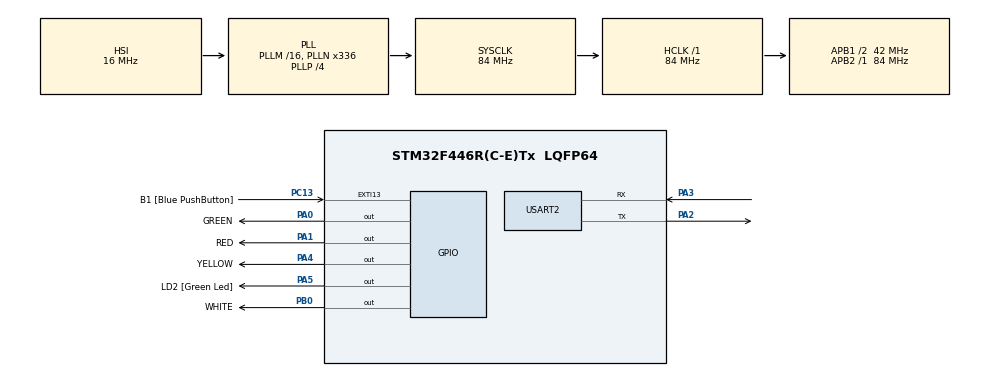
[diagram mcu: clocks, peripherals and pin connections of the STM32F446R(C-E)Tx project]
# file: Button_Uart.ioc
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Mcu.Family=STM32F4
Mcu.Name=STM32F446R(C-E)Tx
Mcu.Package=LQFP64
NVIC.EXTI15_10_IRQn=true\:0\:0\:false\:false\:true\:true\:true
NVIC.PriorityGroup=NVIC_PRIORITYGROUP_0
NVIC.USART2_IRQn=true\:0\:0\:false\:false\:true\:true\:true
PA0-WKUP.GPIO_Label=GREEN
PA0-WKUP.GPIO_PuPd=GPIO_PULLDOWN
PA0-WKUP.Signal=GPIO_Output
PA1.GPIO_Label=RED
PA1.GPIO_PuPd=GPIO_PULLDOWN
PA1.Signal=GPIO_Output
PA13.GPIO_Label=TMS
PA13.Mode=Serial_Wire
PA13.Signal=SYS_JTMS-SWDIO
PA14.GPIO_Label=TCK
PA14.Mode=Serial_Wire
PA14.Signal=SYS_JTCK-SWCLK
PA2.Mode=Asynchronous
PA2.Signal=USART2_TX
PA3.Mode=Asynchronous
PA3.Signal=USART2_RX
PA4.GPIO_Label=YELLOW
PA4.GPIO_PuPd=GPIO_PULLDOWN
PA4.Signal=GPIO_Output
PA5.GPIO_Label=LD2 [Green Led]
PA5.Signal=GPIO_Output
PB0.GPIO_Label=WHITE
PB0.GPIO_PuPd=GPIO_PULLDOWN
PB0.Signal=GPIO_Output
PB3.GPIO_Label=SWO
PB3.Signal=SYS_JTDO-SWO
PC13.GPIO_Label=B1 [Blue PushButton]
PC13.GPIO_ModeDefaultEXTI=GPIO_MODE_IT_RISING
PC13.GPIO_PuPd=GPIO_PULLDOWN
PC13.Signal=GPXTI13
PC14-OSC32_IN.Mode=LSE-External-Oscillator
PC14-OSC32_IN.Signal=RCC_OSC32_IN
PC15-OSC32_OUT.Mode=LSE-External-Oscillator
PC15-OSC32_OUT.Signal=RCC_OSC32_OUT
PH0-OSC_IN.Mode=HSE-External-Oscillator
PH0-OSC_IN.Signal=RCC_OSC_IN
PH1-OSC_OUT.Mode=HSE-External-Oscillator
PH1-OSC_OUT.Signal=RCC_OSC_OUT
ProjectManager.HeapSize=0x200
ProjectManager.StackSize=0x400
ProjectManager.TargetToolchain=STM32CubeIDE
RCC.48MHZClocksFreq_Value=84000000
RCC.AHBFreq_Value=84000000
RCC.APB1CLKDivider=RCC_HCLK_DIV2
RCC.APB1Freq_Value=42000000
RCC.APB1TimFreq_Value=84000000
RCC.APB2Freq_Value=84000000
RCC.APB2TimFreq_Value=84000000
RCC.CortexFreq_Value=84000000
RCC.FLatency-AdvancedSettings=FLASH_LATENCY_2
RCC.HCLKFreq_Value=84000000
RCC.HSE_VALUE=8000000
RCC.HSI_VALUE=16000000
RCC.PLLN=336
RCC.PLLP=RCC_PLLP_DIV4
RCC.SYSCLKFreq_VALUE=84000000
RCC.SYSCLKSource=RCC_SYSCLKSOURCE_PLLCLK
RCC.USBFreq_Value=168000000
RCC.VCOOutputFreq_Value=336000000
USART2.VirtualMode=VM_ASYNC
board=NUCLEO-F446RE

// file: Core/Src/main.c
/* USER CODE BEGIN Header */
/**
  ******************************************************************************
  * @file           : main.c
  * @brief          : Main program body
  ******************************************************************************
  * @attention
  *
  * <h2><center>&copy; Copyright (c) 2021 STMicroelectronics.
  * All rights reserved.</center></h2>
  *
  * This software component is licensed by ST under BSD 3-Clause license,
  * the "License"; You may not use this file except in compliance with the
  * License. You may obtain a copy of the License at:
  *                        opensource.org/licenses/BSD-3-Clause
  *
  ******************************************************************************
  */
/* USER CODE END Header */
#include "main.h"

/* USER CODE BEGIN Includes */
#include <stdio.h>
/* USER CODE END Includes */

UART_HandleTypeDef huart2;

/* USER CODE BEGIN PV */
uint8_t a=0; //a for Compare
uint8_t data_R[10];
uint8_t data_T[]={0,1,2,3,4,5,6,7,8,9};
/* USER CODE END PV */

void SystemClock_Config(void);
static void MX_GPIO_Init(void);
static void MX_USART2_UART_Init(void);

/* USER CODE BEGIN 0 */
int __io_putchar(int ch)
{
	  HAL_UART_Transmit(&huart2, (uint8_t*)&ch, 1, 100);
	  return ch;
}
/* USER CODE END 0 */

int main(void)
{

  /* MCU Configuration--------------------------------------------------------*/

  /* Reset of all peripherals, Initializes the Flash interface and the Systick. */
  HAL_Init();

  /* Configure the system clock */
  SystemClock_Config();

  /* Initialize all configured peripherals */
  MX_GPIO_Init();
  MX_USART2_UART_Init();
  /* USER CODE BEGIN 2 */
  //HAL_UART_Transmit(&huart2, data_T, 10, 100);
  /* USER CODE END 2 */

  /* Infinite loop */
  while (1)
  {

    /* USER CODE BEGIN 3 */
	 // HAL_UART_Transmit(&huart2, data_T, 10, 100);
	  //printf("\n");
	  //HAL_UART_Receive (&huart2, data_R, 10, 100);
	  //printf("\n");
	  //HAL_Delay(500);
	  //HAL_GPIO_TogglePin (GPIOA, GPIO_PIN_5);
	  //printf("Received value = %d", data_R);

	  switch (a)
	  {
	  case 0:
		  //printf("Love you\n");
		  HAL_GPIO_WritePin(WHITE_GPIO_Port, WHITE_Pin, GPIO_PIN_RESET);
		  HAL_GPIO_WritePin(GPIOA, GREEN_Pin, GPIO_PIN_RESET);
		  HAL_GPIO_WritePin(GPIOA, RED_Pin, GPIO_PIN_RESET);
		  HAL_GPIO_WritePin(GPIOA, YELLOW_Pin, GPIO_PIN_RESET);

		  HAL_GPIO_WritePin(GPIOA, GREEN_Pin, GPIO_PIN_SET);

		  HAL_Delay(500);
		  HAL_GPIO_TogglePin (GPIOA, GPIO_PIN_5);
		  //HAL_Delay(1000);
		  break;
	  case 1:
		  HAL_GPIO_WritePin(WHITE_GPIO_Port, WHITE_Pin, GPIO_PIN_RESET);
		  HAL_GPIO_WritePin(GPIOA, GREEN_Pin, GPIO_PIN_RESET);
		  HAL_GPIO_WritePin(GPIOA, RED_Pin, GPIO_PIN_RESET);
		  HAL_GPIO_WritePin(GPIOA, YELLOW_Pin, GPIO_PIN_RESET);

		  HAL_GPIO_WritePin(GPIOA, RED_Pin, GPIO_PIN_SET);

		  HAL_Delay(500);
		  HAL_GPIO_TogglePin (GPIOA, GPIO_PIN_5);
		  break;
	  case 2:
		  HAL_GPIO_WritePin(WHITE_GPIO_Port, WHITE_Pin, GPIO_PIN_RESET);
		  HAL_GPIO_WritePin(GPIOA, GREEN_Pin, GPIO_PIN_RESET);
		  HAL_GPIO_WritePin(GPIOA, RED_Pin, GPIO_PIN_RESET);
		  HAL_GPIO_WritePin(GPIOA, YELLOW_Pin, GPIO_PIN_RESET);

		  HAL_GPIO_WritePin(GPIOA, YELLOW_Pin, GPIO_PIN_SET);

		  HAL_Delay(500);
		  HAL_GPIO_TogglePin (GPIOA, GPIO_PIN_5);
		  break;
	  case 3:
		  HAL_GPIO_WritePin(WHITE_GPIO_Port, WHITE_Pin, GPIO_PIN_RESET);
		  HAL_GPIO_WritePin(GPIOA, GREEN_Pin, GPIO_PIN_RESET);
		  HAL_GPIO_WritePin(GPIOA, RED_Pin, GPIO_PIN_RESET);
		  HAL_GPIO_WritePin(GPIOA, YELLOW_Pin, GPIO_PIN_RESET);

		  HAL_GPIO_WritePin(WHITE_GPIO_Port, WHITE_Pin, GPIO_PIN_SET);

		  HAL_Delay(500);
		  HAL_GPIO_TogglePin (GPIOA, GPIO_PIN_5);
		  break;
	  }

  }
  /* USER CODE END 3 */
}

void SystemClock_Config(void)
{
  RCC_OscInitTypeDef RCC_OscInitStruct = {0};
  RCC_ClkInitTypeDef RCC_ClkInitStruct = {0};

  /** Configure the main internal regulator output voltage
  */
  __HAL_RCC_PWR_CLK_ENABLE();
  __HAL_PWR_VOLTAGESCALING_CONFIG(PWR_REGULATOR_VOLTAGE_SCALE3);
  /** Initializes the RCC Oscillators according to the specified parameters
  * in the RCC_OscInitTypeDef structure.
  */
  RCC_OscInitStruct.OscillatorType = RCC_OSCILLATORTYPE_HSI;
  RCC_OscInitStruct.HSIState = RCC_HSI_ON;
  RCC_OscInitStruct.HSICalibrationValue = RCC_HSICALIBRATION_DEFAULT;
  RCC_OscInitStruct.PLL.PLLState = RCC_PLL_ON;
  RCC_OscInitStruct.PLL.PLLSource = RCC_PLLSOURCE_HSI;
  RCC_OscInitStruct.PLL.PLLM = 16;
  RCC_OscInitStruct.PLL.PLLN = 336;
  RCC_OscInitStruct.PLL.PLLP = RCC_PLLP_DIV4;
  RCC_OscInitStruct.PLL.PLLQ = 2;
  RCC_OscInitStruct.PLL.PLLR = 2;
  if (HAL_RCC_OscConfig(&RCC_OscInitStruct) != HAL_OK)
  {
    Error_Handler();
  }
  /** Initializes the CPU, AHB and APB buses clocks
  */
  RCC_ClkInitStruct.ClockType = RCC_CLOCKTYPE_HCLK|RCC_CLOCKTYPE_SYSCLK
                              |RCC_CLOCKTYPE_PCLK1|RCC_CLOCKTYPE_PCLK2;
  RCC_ClkInitStruct.SYSCLKSource = RCC_SYSCLKSOURCE_PLLCLK;
  RCC_ClkInitStruct.AHBCLKDivider = RCC_SYSCLK_DIV1;
  RCC_ClkInitStruct.APB1CLKDivider = RCC_HCLK_DIV2;
  RCC_ClkInitStruct.APB2CLKDivider = RCC_HCLK_DIV1;

  if (HAL_RCC_ClockConfig(&RCC_ClkInitStruct, FLASH_LATENCY_2) != HAL_OK)
  {
    Error_Handler();
  }
}

static void MX_USART2_UART_Init(void)
{

  huart2.Instance = USART2;
  huart2.Init.BaudRate = 115200;
  huart2.Init.WordLength = UART_WORDLENGTH_8B;
  huart2.Init.StopBits = UART_STOPBITS_1;
  huart2.Init.Parity = UART_PARITY_NONE;
  huart2.Init.Mode = UART_MODE_TX_RX;
  huart2.Init.HwFlowCtl = UART_HWCONTROL_NONE;
  huart2.Init.OverSampling = UART_OVERSAMPLING_16;
  if (HAL_UART_Init(&huart2) != HAL_OK)
  {
    Error_Handler();
  }

}

static void MX_GPIO_Init(void)
{
  GPIO_InitTypeDef GPIO_InitStruct = {0};

  /* GPIO Ports Clock Enable */
  __HAL_RCC_GPIOC_CLK_ENABLE();
  __HAL_RCC_GPIOH_CLK_ENABLE();
  __HAL_RCC_GPIOA_CLK_ENABLE();
  __HAL_RCC_GPIOB_CLK_ENABLE();

  /*Configure GPIO pin Output Level */
  HAL_GPIO_WritePin(GPIOA, GREEN_Pin|RED_Pin|YELLOW_Pin|LD2_Pin, GPIO_PIN_RESET);

  /*Configure GPIO pin Output Level */
  HAL_GPIO_WritePin(WHITE_GPIO_Port, WHITE_Pin, GPIO_PIN_RESET);

  /*Configure GPIO pin : B1_Pin */
  GPIO_InitStruct.Pin = B1_Pin;
  GPIO_InitStruct.Mode = GPIO_MODE_IT_RISING;
  GPIO_InitStruct.Pull = GPIO_PULLDOWN;
  HAL_GPIO_Init(B1_GPIO_Port, &GPIO_InitStruct);

  /*Configure GPIO pins : GREEN_Pin RED_Pin YELLOW_Pin */
  GPIO_InitStruct.Pin = GREEN_Pin|RED_Pin|YELLOW_Pin;
  GPIO_InitStruct.Mode = GPIO_MODE_OUTPUT_PP;
  GPIO_InitStruct.Pull = GPIO_PULLDOWN;
  GPIO_InitStruct.Speed = GPIO_SPEED_FREQ_LOW;
  HAL_GPIO_Init(GPIOA, &GPIO_InitStruct);

  /*Configure GPIO pin : LD2_Pin */
  GPIO_InitStruct.Pin = LD2_Pin;
  GPIO_InitStruct.Mode = GPIO_MODE_OUTPUT_PP;
  GPIO_InitStruct.Pull = GPIO_NOPULL;
  GPIO_InitStruct.Speed = GPIO_SPEED_FREQ_LOW;
  HAL_GPIO_Init(LD2_GPIO_Port, &GPIO_InitStruct);

  /*Configure GPIO pin : WHITE_Pin */
  GPIO_InitStruct.Pin = WHITE_Pin;
  GPIO_InitStruct.Mode = GPIO_MODE_OUTPUT_PP;
  GPIO_InitStruct.Pull = GPIO_PULLDOWN;
  GPIO_InitStruct.Speed = GPIO_SPEED_FREQ_LOW;
  HAL_GPIO_Init(WHITE_GPIO_Port, &GPIO_InitStruct);

  /* EXTI interrupt init*/
  HAL_NVIC_SetPriority(EXTI15_10_IRQn, 0, 0);
  HAL_NVIC_EnableIRQ(EXTI15_10_IRQn);

}

/* USER CODE BEGIN 4 */
void HAL_GPIO_EXTI_Callback(uint16_t GPIO_Pin)
{

  if(GPIO_Pin== B1_Pin)
  {
	  switch (a)
	  {
	  	 case 0:
	  		  HAL_UART_Transmit(&huart2, (uint8_t*)"The RED LED is ON\n",18, 100);
	  		  a++;
	  		  break;
	     case 1:
	  		 HAL_UART_Transmit(&huart2, (uint8_t*)"The YELLOW LED is ON\n",21, 100);
	    	 a++;
	    	 break;
	     case 2:
	  		  HAL_UART_Transmit(&huart2, (uint8_t*)"The WHITE LED is ON\n",20, 100);
	    	 a++;
	    	 break;
	     case 3:
	  		  HAL_UART_Transmit(&huart2, (uint8_t*)"The GREEN LED is ON\n",20, 100);
	    	 a=0;
	    	 break;
	     }
  }
  else
  {
    __NOP();
  }
}
/* USER CODE END 4 */

void Error_Handler(void)
{
  __disable_irq();
  while (1)
  {
  }
}

/************************ (C) COPYRIGHT STMicroelectronics *****END OF FILE****/
